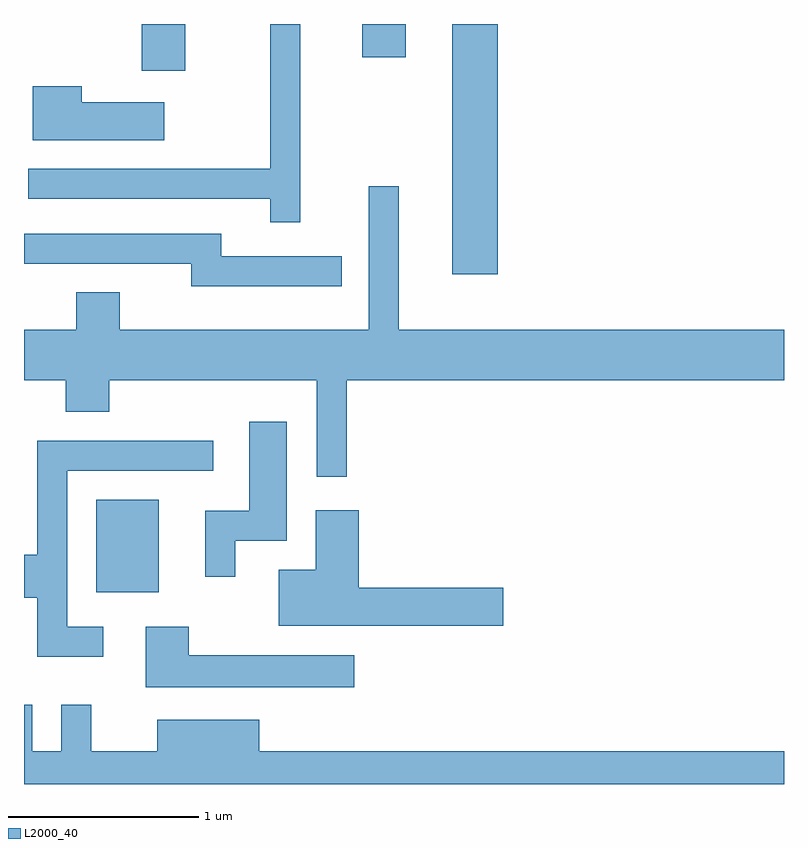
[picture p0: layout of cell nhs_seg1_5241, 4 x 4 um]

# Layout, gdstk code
import gdstk
lib = gdstk.Library(unit=1e-6, precision=1e-09)
def R(c, l, rs):  # rectangles x0, y0, x1, y1
    for r in rs: c.add(gdstk.rectangle(r[:2], r[2:], *l))
def P(c, l, *ps):  # polygons
    for p in ps: c.add(gdstk.Polygon(p, *l))
L2000_40 = (2000, 40)

nhs_seg1_5241 = lib.new_cell('nhs_seg1_5241')
R(nhs_seg1_5241, L2000_40, [(343.991,860.721,344.319,861.209), (345.866,862.396,346.104,863.712), (344.231,863.466,344.459,863.712), (345.391,863.536,345.619,863.712)])
P(nhs_seg1_5241, L2000_40, [(345.064,863.712),(344.906,863.712),(344.906,862.949),(343.633,862.949),(343.633,862.791),(344.906,862.791),(344.906,862.668),(345.064,862.668)],
  [(344.349,863.299),(343.914,863.299),(343.914,863.384),(343.656,863.384),(343.656,863.101),(344.349,863.101)],
  [(345.309,861.836),(347.611,861.836),(347.611,862.104),(345.584,862.104),(345.584,862.858),(345.426,862.858),(345.426,862.104),(344.114,862.104),(344.114,862.299),(343.886,862.299),(343.886,862.104),(343.611,862.104),(343.611,861.836),(343.831,861.836),(343.831,861.671),(344.059,861.671),(344.059,861.836),(345.151,861.836),(345.151,861.328),(345.309,861.328)],
  [(345.283,862.489),(344.649,862.489),(344.649,862.609),(343.611,862.609),(343.611,862.451),(344.491,862.451),(344.491,862.331),(345.283,862.331)],
  [(344.724,860.991),(344.994,860.991),(344.994,861.619),(344.796,861.619),(344.796,861.149),(344.566,861.149),(344.566,860.803),(344.724,860.803)],
  [(344.028,860.539),(343.839,860.539),(343.839,861.361),(344.608,861.361),(344.608,861.519),(343.681,861.519),(343.681,860.919),(343.611,860.919),(343.611,860.691),(343.681,860.691),(343.681,860.381),(344.028,860.381)],
  [(346.134,860.744),(345.374,860.744),(345.374,861.154),(345.146,861.154),(345.146,860.839),(344.951,860.839),(344.951,860.546),(346.134,860.546)],
  [(345.348,860.389),(344.479,860.389),(344.479,860.539),(344.251,860.539),(344.251,860.221),(345.348,860.221)],
  [(347.611,859.884),(344.849,859.884),(344.849,860.049),(344.311,860.049),(344.311,859.884),(343.964,859.884),(343.964,860.128),(343.806,860.128),(343.806,859.884),(343.654,859.884),(343.654,860.128),(343.611,860.128),(343.611,859.712),(347.611,859.712)])

lib.write_gds('nhs_seg1_5241.gds')
